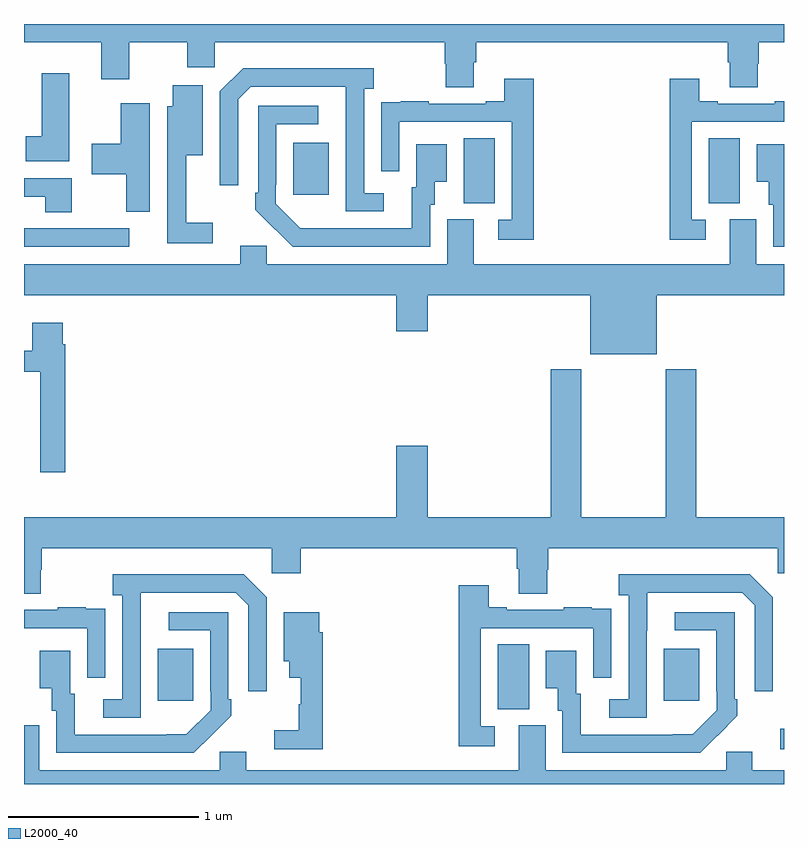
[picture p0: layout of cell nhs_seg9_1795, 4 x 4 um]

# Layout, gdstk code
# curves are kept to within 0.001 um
import gdstk
lib = gdstk.Library(unit=1e-6, precision=1e-09)
def R(c, l, rs):  # rectangles x0, y0, x1, y1
    for r in rs: c.add(gdstk.rectangle(r[:2], r[2:], *l))
def P(c, l, *ps):  # polygons
    for p in ps: c.add(gdstk.Polygon(p, *l))
L2000_40 = (2000, 40)

nhs_seg9_1795 = lib.new_cell('nhs_seg9_1795')
R(nhs_seg9_1795, L2000_40, [(214.98,1208.682,215,1208.791), (213.494,1208.893,213.658,1209.236), (211.703,1208.937,211.891,1209.211), (214.367,1208.937,214.555,1209.211), (211,1211.328,211.555,1211.424), (213.314,1211.557,213.478,1211.9), (214.604,1211.557,214.768,1211.9), (212.417,1211.601,212.605,1211.875)])
P(nhs_seg9_1795, L2000_40, [(213.367,1212.298),(213.38,1212.298),(213.38,1212.404),(214.703,1212.404),(214.703,1212.298),(214.715,1212.298),(214.715,1212.166),(214.863,1212.166),(214.863,1212.291),(214.868,1212.291),(214.868,1212.404),(215,1212.404),(215,1212.5),(211,1212.5),(211,1212.404),(211.406,1212.404),(211.406,1212.21),(211.554,1212.21),(211.554,1212.404),(211.858,1212.404),(211.858,1212.273),(212.004,1212.273),(212.004,1212.404),(213.215,1212.404),(213.215,1212.291),(213.22,1212.291),(213.22,1212.166),(213.367,1212.166)],
  [(212.893,1211.61),(212.79,1211.61),(212.79,1212.158),(212.842,1212.158),(212.842,1212.268),(212.154,1212.268),(212.031,1212.145),(212.031,1211.652),(212.127,1211.652),(212.127,1212.105),(212.193,1212.171),(212.693,1212.171),(212.694,1211.514),(212.893,1211.514)],
  [(211.237,1212.241),(211.094,1212.241),(211.094,1211.908),(211.01,1211.908),(211.01,1211.777),(211.237,1211.777)],
  [(213.683,1212.211),(213.527,1212.211),(213.527,1212.094),(213.431,1212.094),(213.431,1212.081),(213.131,1212.081),(213.131,1212.094),(212.983,1212.094),(212.983,1212.087),(212.881,1212.087),(212.881,1211.978),(212.88,1211.978),(212.88,1211.724),(212.976,1211.724),(212.976,1211.985),(213.567,1211.985),(213.567,1211.469),(213.495,1211.469),(213.495,1211.364),(213.683,1211.364)],
  [(214.588,1211.469),(214.515,1211.469),(214.515,1211.985),(215,1211.985),(215,1212.094),(214.951,1212.094),(214.951,1212.081),(214.651,1212.081),(214.651,1212.094),(214.555,1212.094),(214.555,1212.211),(214.399,1212.211),(214.399,1211.364),(214.588,1211.364)],
  [(211.993,1211.455),(211.853,1211.455),(211.853,1211.81),(211.942,1211.81),(211.942,1212.178),(211.784,1212.178),(211.784,1212.067),(211.755,1212.067),(211.755,1211.346),(211.993,1211.346)],
  [(211.663,1212.082),(211.508,1212.082),(211.508,1211.871),(211.356,1211.871),(211.356,1211.708),(211.538,1211.708),(211.538,1211.511),(211.663,1211.511)],
  [(213.138,1211.55),(213.163,1211.55),(213.163,1211.669),(213.226,1211.669),(213.226,1211.866),(213.065,1211.866),(213.065,1211.64),(213.041,1211.64),(213.041,1211.424),(212.454,1211.425),(212.325,1211.553),(212.325,1211.653),(212.328,1211.653),(212.328,1211.973),(212.548,1211.973),(212.548,1212.069),(212.232,1212.069),(212.232,1211.611),(212.217,1211.611),(212.217,1211.523),(212.414,1211.328),(213.138,1211.328)],
  [(215,1211.866),(214.856,1211.866),(214.856,1211.669),(214.919,1211.669),(214.919,1211.55),(214.944,1211.55),(214.944,1211.328),(215,1211.328)],
  [(211.252,1211.688),(211,1211.688),(211,1211.592),(211.112,1211.592),(211.112,1211.509),(211.252,1211.509)],
  [(214.33,1211.072),(215,1211.072),(215,1211.236),(214.855,1211.236),(214.855,1211.472),(214.715,1211.472),(214.715,1211.236),(213.367,1211.236),(213.367,1211.472),(213.227,1211.472),(213.227,1211.236),(212.277,1211.236),(212.277,1211.334),(212.138,1211.334),(212.138,1211.236),(211,1211.236),(211,1211.072),(212.96,1211.072),(212.96,1210.884),(213.124,1210.884),(213.124,1211.072),(213.98,1211.072),(213.98,1210.763),(214.33,1210.763)],
  [(211.217,1210.814),(211.204,1210.814),(211.204,1210.927),(211.043,1210.927),(211.043,1210.78),(211,1210.78),(211,1210.671),(211.085,1210.671),(211.085,1210.14),(211.217,1210.14)],
  [(211.089,1209.627),(211.094,1209.627),(211.094,1209.74),(212.304,1209.74),(212.304,1209.609),(212.456,1209.609),(212.456,1209.74),(213.593,1209.74),(213.593,1209.634),(213.605,1209.634),(213.605,1209.502),(213.753,1209.502),(213.753,1209.627),(213.758,1209.627),(213.758,1209.74),(214.968,1209.74),(214.968,1209.609),(215,1209.609),(215,1209.904),(214.538,1209.904),(214.538,1210.684),(214.378,1210.684),(214.378,1209.904),(213.933,1209.904),(213.933,1210.684),(213.773,1210.684),(213.773,1209.904),(213.124,1209.904),(213.124,1210.279),(212.96,1210.279),(212.96,1209.904),(211,1209.904),(211,1209.502),(211.089,1209.502)],
  [(211.614,1209.307),(211.615,1209.507),(212.115,1209.507),(212.181,1209.441),(212.181,1208.988),(212.277,1208.988),(212.277,1209.483),(212.156,1209.604),(211.467,1209.604),(211.467,1209.494),(211.518,1209.494),(211.518,1208.946),(211.416,1208.946),(211.416,1208.85),(211.614,1208.85)],
  [(214.278,1209.307),(214.279,1209.507),(214.779,1209.507),(214.845,1209.441),(214.845,1208.988),(214.941,1208.988),(214.941,1209.483),(214.82,1209.604),(214.131,1209.604),(214.131,1209.494),(214.182,1209.494),(214.182,1208.946),(214.08,1208.946),(214.08,1208.85),(214.278,1208.85)],
  [(213.478,1208.805),(213.405,1208.805),(213.405,1209.321),(213.996,1209.321),(213.996,1209.06),(214.092,1209.06),(214.092,1209.314),(214.091,1209.314),(214.091,1209.423),(213.989,1209.423),(213.989,1209.43),(213.841,1209.43),(213.841,1209.417),(213.541,1209.417),(213.541,1209.43),(213.445,1209.43),(213.445,1209.547),(213.289,1209.547),(213.289,1208.7),(213.478,1208.7)],
  [(211.428,1209.314),(211.427,1209.314),(211.427,1209.423),(211.325,1209.423),(211.325,1209.43),(211.177,1209.43),(211.177,1209.417),(211,1209.417),(211,1209.321),(211.332,1209.321),(211.332,1209.06),(211.428,1209.06)],
  [(211.985,1208.755),(211.986,1208.754),(212.091,1208.859),(212.091,1208.947),(212.076,1208.947),(212.076,1209.405),(211.761,1209.405),(211.761,1209.309),(211.98,1209.309),(211.98,1208.989),(211.983,1208.989),(211.983,1208.889),(211.855,1208.761),(211.267,1208.76),(211.267,1208.976),(211.243,1208.976),(211.243,1209.202),(211.082,1209.202),(211.082,1209.005),(211.145,1209.005),(211.145,1208.886),(211.17,1208.886),(211.17,1208.664),(211.894,1208.664)],
  [(214.649,1208.755),(214.65,1208.754),(214.755,1208.859),(214.755,1208.947),(214.74,1208.947),(214.74,1209.405),(214.425,1209.405),(214.425,1209.309),(214.644,1209.309),(214.644,1208.989),(214.647,1208.989),(214.647,1208.889),(214.519,1208.761),(213.931,1208.76),(213.931,1208.976),(213.907,1208.976),(213.907,1209.202),(213.746,1209.202),(213.746,1209.005),(213.809,1209.005),(213.809,1208.886),(213.834,1208.886),(213.834,1208.664),(214.558,1208.664)],
  [(212.573,1209.299),(212.554,1209.299),(212.554,1209.403),(212.366,1209.403),(212.366,1209.146),(212.396,1209.146),(212.396,1209.059),(212.456,1209.059),(212.456,1208.919),(212.445,1208.919),(212.445,1208.783),(212.316,1208.783),(212.316,1208.682),(212.573,1208.682)],
  [(215,1208.572),(214.834,1208.572),(214.834,1208.67),(214.695,1208.67),(214.695,1208.572),(213.745,1208.572),(213.745,1208.808),(213.605,1208.808),(213.605,1208.572),(212.17,1208.572),(212.17,1208.67),(212.031,1208.67),(212.031,1208.572),(211.081,1208.572),(211.081,1208.808),(211,1208.808),(211,1208.5),(215,1208.5)])

lib.write_gds('nhs_seg9_1795.gds')
